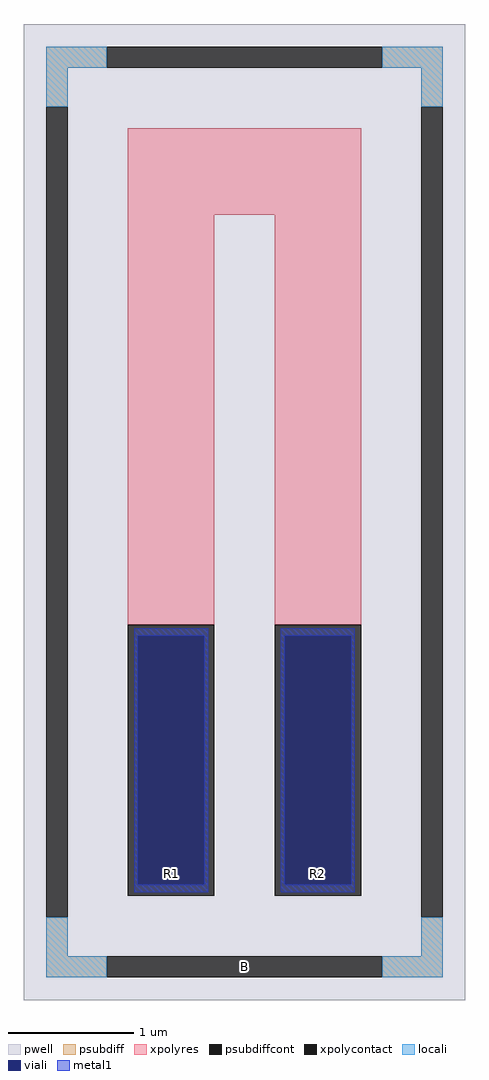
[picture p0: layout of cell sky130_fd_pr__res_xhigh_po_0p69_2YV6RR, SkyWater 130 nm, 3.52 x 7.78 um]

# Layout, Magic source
magic
tech sky130A
magscale 1 2
<< pwell >>
rect -352 -778 352 778
<< psubdiff >>
rect -316 708 -220 742
rect 220 708 316 742
rect -316 646 -282 708
rect 282 646 316 708
rect -316 -708 -282 -646
rect 282 -708 316 -646
rect -316 -742 -220 -708
rect 220 -742 316 -708
<< psubdiffcont >>
rect -220 708 220 742
rect -316 -646 -282 646
rect 282 -646 316 646
rect -220 -742 220 -708
<< xpolycontact >>
rect -186 -612 -48 -180
rect 48 -612 186 -180
<< xpolyres >>
rect -186 474 186 612
rect -186 -180 -48 474
rect 48 -180 186 474
<< locali >>
rect -316 708 -220 742
rect 220 708 316 742
rect -316 646 -282 708
rect 282 646 316 708
rect -316 -708 -282 -646
rect 282 -708 316 -646
rect -316 -742 -220 -708
rect 220 -742 316 -708
<< viali >>
rect -170 -594 -64 -197
rect 64 -594 170 -197
<< metal1 >>
rect -176 -197 -58 -185
rect -176 -594 -170 -197
rect -64 -594 -58 -197
rect -176 -606 -58 -594
rect 58 -197 176 -185
rect 58 -594 64 -197
rect 170 -594 176 -197
rect 58 -606 176 -594
<< labels >>
rlabel psubdiffcont 0 -725 0 -725 0 B
port 1 nsew
rlabel xpolycontact -117 -577 -117 -577 0 R1
port 2 nsew
rlabel xpolycontact 117 -577 117 -577 0 R2
port 3 nsew
<< properties >>
string FIXED_BBOX -299 -725 299 725
string gencell sky130_fd_pr__res_xhigh_po_0p69
string library sky130
string parameters w 0.69 l 3.44 m 1 nx 2 wmin 0.690 lmin 0.50 class resistor rho 2000 val 22.487k dummy 0 dw 0.0 term 188.2 sterm 0.0 caplen 0 wmax 0.690 guard 1 glc 1 grc 1 gtc 1 gbc 1 compatible {sky130_fd_pr__res_xhigh_po_0p35  sky130_fd_pr__res_xhigh_po_0p69 sky130_fd_pr__res_xhigh_po_1p41  sky130_fd_pr__res_xhigh_po_2p85 sky130_fd_pr__res_xhigh_po_5p73} snake 1 full_metal 1 n_guard 0 hv_guard 0 vias 1 viagb 0 viagt 0 viagl 0 viagr 0 doports 1
<< end >>
